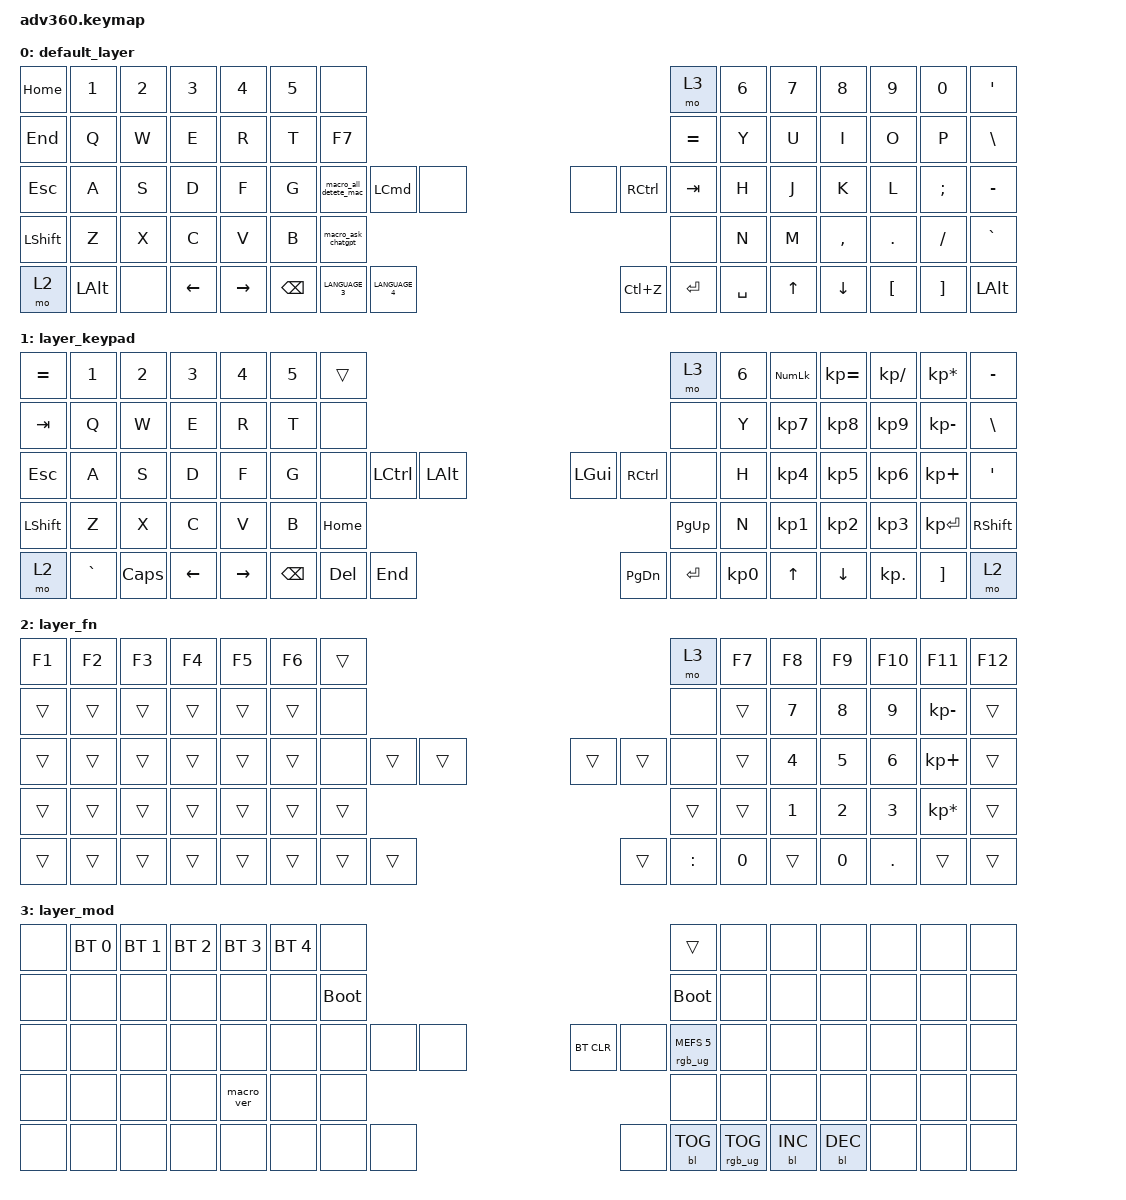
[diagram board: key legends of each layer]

/*
 * Copyright (c) 2020 The ZMK Contributors
 *
 * SPDX-License-Identifier: MIT
 */


/* THIS FILE WAS GENERATED!
 *
 * This file was generated automatically. You may or may not want to
 * edit it directly.
 */

#include <behaviors.dtsi>
#include <dt-bindings/zmk/keys.h>
#include <dt-bindings/zmk/bt.h>
#include <dt-bindings/zmk/rgb.h>
#include <dt-bindings/zmk/backlight.h>

/ {
  behaviors {
    #include "macros.dtsi"
    #include "version.dtsi"

    hm: homerow_mods {
        compatible = "zmk,behavior-hold-tap";
        label = "HOMEROW_MODS";
        #binding-cells = <2>;
        tapping-term-ms = <200>;
        quick_tap_ms = <175>;
        flavor = "tap-preferred";
        bindings = <&kp>, <&kp>;
    };
  };

    keymap {
        compatible = "zmk,keymap";


        default_layer {
            bindings = <
  &kp HOME    &kp N1  &kp N2    &kp N3     &kp N4  &kp N5                            &none                                                                                &mo 3  &kp N6  &kp N7     &kp N8    &kp N9    &kp N0  &kp SINGLE_QUOTE
   &kp END     &kp Q   &kp W     &kp E      &kp R   &kp T                           &kp F7                                                                            &kp EQUAL   &kp Y   &kp U      &kp I     &kp O     &kp P          &kp BSLH
   &kp ESC     &kp A   &kp S     &kp D      &kp F   &kp G            &macro_all_detete_mac        &kp LCMD               &none                      &none  &kp RCTRL    &kp TAB   &kp H   &kp J      &kp K     &kp L  &kp SEMI         &kp MINUS
 &kp LSHFT     &kp Z   &kp X     &kp C      &kp V   &kp B                                                   &macro_ask_chatgpt                      &none                         &kp N   &kp M  &kp COMMA   &kp DOT  &kp FSLH         &kp GRAVE
     &mo 2  &kp LALT   &none  &kp LEFT  &kp RIGHT                                 &kp BSPC  &kp LANGUAGE_3      &kp LANGUAGE_4                  &kp LC(Z)  &kp ENTER  &kp SPACE          &kp UP   &kp DOWN  &kp LBKT  &kp RBKT          &kp LALT
            >;
        };

        layer_keypad {
            bindings = <
 &kp EQUAL     &kp N1    &kp N2    &kp N3     &kp N4  &kp N5              &trans                                                                 &mo 3  &kp N6  &kp KP_NUM  &kp KP_EQUAL  &kp KP_DIVIDE  &kp KP_MULTIPLY  &kp MINUS
   &kp TAB      &kp Q     &kp W     &kp E      &kp R   &kp T               &none                                                                 &none   &kp Y   &kp KP_N7     &kp KP_N8      &kp KP_N9     &kp KP_MINUS   &kp BSLH
   &kp ESC      &kp A     &kp S     &kp D      &kp F   &kp G               &none  &kp LCTRL  &kp LALT                   &kp LGUI  &kp RCTRL      &none   &kp H   &kp KP_N4     &kp KP_N5      &kp KP_N6      &kp KP_PLUS    &kp SQT
 &kp LSHFT      &kp Z     &kp X     &kp C      &kp V   &kp B                                 &kp HOME                  &kp PG_UP                         &kp N   &kp KP_N1     &kp KP_N2      &kp KP_N3     &kp KP_ENTER  &kp RSHFT
     &mo 2  &kp GRAVE  &kp CAPS  &kp LEFT  &kp RIGHT                    &kp BSPC    &kp DEL   &kp END                  &kp PG_DN  &kp ENTER  &kp KP_N0              &kp UP      &kp DOWN     &kp KP_DOT         &kp RBKT      &mo 2
            >;
        };

        layer_fn {
            bindings = <
 &kp F1  &kp F2  &kp F3  &kp F4  &kp F5  &kp F6            &trans                                                            &mo 3  &kp F7        &kp F8        &kp F9       &kp F10          &kp F11  &kp F12
 &trans  &trans  &trans  &trans  &trans  &trans             &none                                                            &none  &trans  &kp NUMBER_7  &kp NUMBER_8  &kp NUMBER_9     &kp KP_MINUS   &trans
 &trans  &trans  &trans  &trans  &trans  &trans             &none  &trans  &trans                  &trans     &trans         &none  &trans  &kp NUMBER_4  &kp NUMBER_5  &kp NUMBER_6      &kp KP_PLUS   &trans
 &trans  &trans  &trans  &trans  &trans  &trans                            &trans                  &trans                           &trans  &kp NUMBER_1  &kp NUMBER_2  &kp NUMBER_3  &kp KP_MULTIPLY   &trans
 &trans  &trans  &trans  &trans  &trans                    &trans  &trans  &trans                  &trans  &kp COLON  &kp NUMBER_0                &trans  &kp NUMBER_0       &kp DOT           &trans   &trans
            >;
        };

        layer_mod {
            bindings = <
  &none  &bt BT_SEL 0  &bt BT_SEL 1  &bt BT_SEL 2  &bt BT_SEL 3  &bt BT_SEL 4                  &none                                                                          &trans   &none       &none       &none   &none   &none   &none
  &none         &none         &none         &none         &none         &none            &bootloader                                                                     &bootloader   &none       &none       &none   &none   &none   &none
  &none         &none         &none         &none         &none         &none                  &none   &none   &none                  &bt BT_CLR       &none  &rgb_ug RGB_MEFS_CMD 5   &none       &none       &none   &none   &none   &none
  &none         &none         &none         &none    &macro_ver         &none                                  &none                       &none                                       &none       &none       &none   &none   &none   &none
  &none         &none         &none         &none         &none                                &none   &none   &none                       &none  &bl BL_TOG         &rgb_ug RGB_TOG          &bl BL_INC  &bl BL_DEC   &none   &none   &none
            >;
        };

    };
};
